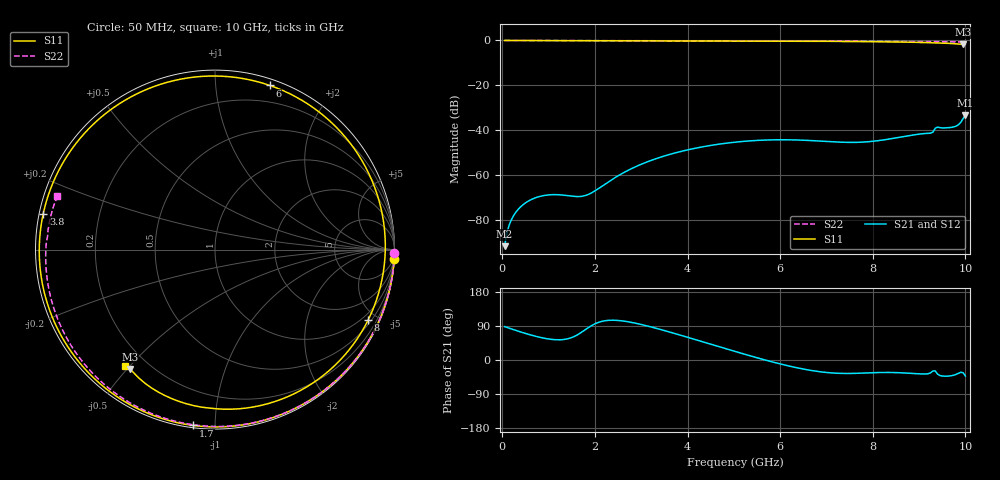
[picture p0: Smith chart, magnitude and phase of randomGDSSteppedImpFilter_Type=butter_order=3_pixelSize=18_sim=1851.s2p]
! freq	dB(S11)	phase(S11)	dB(S12)	phase(S12)
!  dB(S21)	phase(S21)	dB(S22)	phase(S22)
!S-par simulation data
#  GHz  S  DB  R 50
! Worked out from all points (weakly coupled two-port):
!   200 points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, 50 MHz to 10 GHz, reference 50 ohm
!   highest |S21| = -33.25 dB at 10 GHz (marker M1); lowest = -91.5 dB at 50 MHz (marker M2)
!   lowest |S11| = -1.8 dB at 9.95 GHz (marker M3), VSWR 9.90, Z = 6.37 - j25.4 ohm
!   |S11| at or under -10 dB: nowhere
!   |S22| runs from -0.7 to 0.0 dB; largest |S21 - S12| = 0
!   S11 on the Smith chart (normalised r, x): 50 MHz: 0, -37; 1.7 GHz: 0.01, -0.88; 3.8 GHz: 0.01, +0.10; 6 GHz: 0.05, +1.39; 8 GHz: 0.68, -4.48; 10 GHz: 0.12, -0.49
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0.05  -0.00 -3.1  -91.50 88.1  -91.50 88.1  -0.00 -1.1
0.2  -0.02 -12.3  -79.57 81.8  -79.57 81.8  -0.01 -4.4
0.4  -0.03 -24.4  -73.92 73.9  -73.92 73.9  -0.01 -8.7
0.75  -0.06 -45.2  -69.73 61.7  -69.73 61.7  -0.02 -16.3
1.2  -0.09 -70.7  -68.61 53.3  -68.61 53.3  -0.03 -25.9
1.7  -0.11 -97.1  -69.36 72.3  -69.36 72.3  -0.05 -36.5
1.75  -0.11 -99.7  -69.19 76.4  -69.19 76.4  -0.05 -37.6
2.6  -0.15 -140.1  -59.03 103.1  -59.03 103.1  -0.07 -55.1
3.4  -0.18 -174.9  -52.03 81.1  -52.03 81.1  -0.09 -71.1
3.8  -0.20 168.2  -49.66 67.2  -49.66 67.2  -0.11 -78.9
4.4  -0.22 142.8  -47.03 45.4  -47.03 45.4  -0.13 -90.4
5.05  -0.26 114.7  -45.19 21.8  -45.19 21.8  -0.16 -102.6
6  -0.32 71.5  -44.17 -10.3  -44.17 -10.3  -0.21 -120.1
6.7  -0.37 38.3  -44.56 -28.2  -44.56 -28.2  -0.26 -132.9
7.35  -0.44 6.9  -45.27 -35.4  -45.27 -35.4  -0.32 -144.9
8  -0.55 -24.6  -44.85 -33.5  -44.85 -33.5  -0.38 -157.2
8.35  -0.63 -41.6  -43.86 -32.8  -43.86 -32.8  -0.42 -164.0
9.2  -0.98 -84.3  -41.30 -36.1  -41.30 -36.1  -0.52 178.7
9.4  -1.10 -94.8  -38.56 -37.5  -38.56 -37.5  -0.57 174.6
9.8  -1.51 -117.7  -38.09 -37.8  -38.09 -37.8  -0.61 165.7
9.95  -1.76 -125.5  -34.76 -33.6  -34.76 -33.6  -0.65 162.3
10  -1.71 -127.7  -33.25 -42.3  -33.25 -42.3  -0.66 161.2
